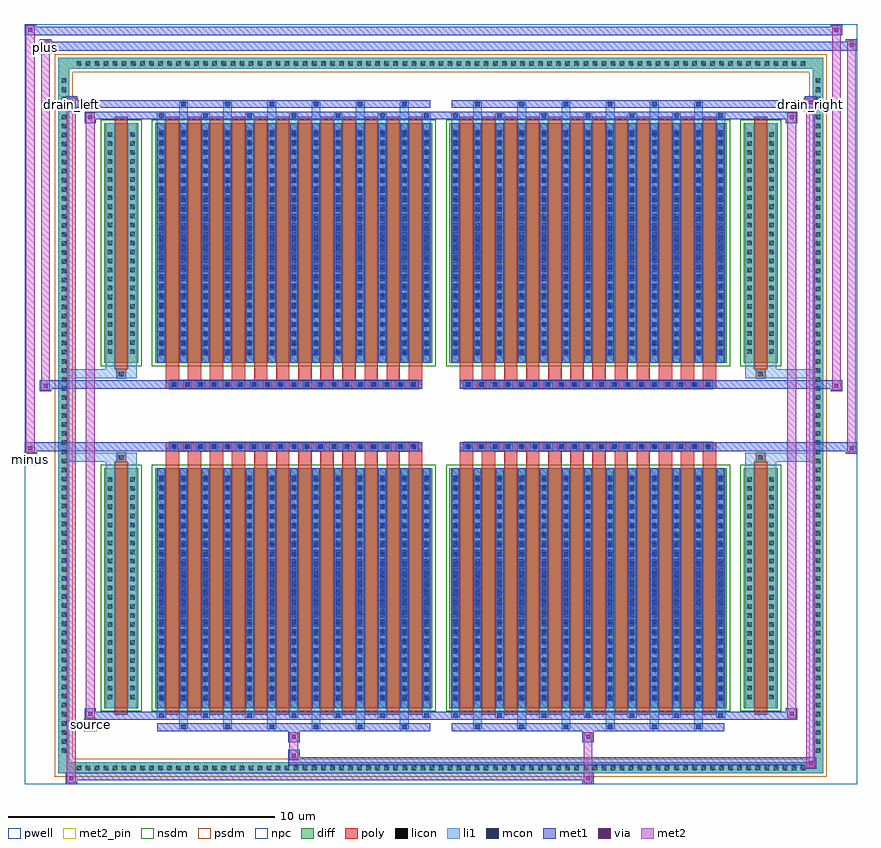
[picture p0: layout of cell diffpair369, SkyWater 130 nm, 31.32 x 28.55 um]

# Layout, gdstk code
import gdstk
lib = gdstk.Library(unit=1e-6, precision=5e-09)
def R(c, l, rs):  # rectangles x0, y0, x1, y1
    for r in rs: c.add(gdstk.rectangle(r[:2], r[2:], *l))
def A(c, l, x, y, w, h, nx, ny, dx, dy):  # array of equal rectangles
    R(c, l, [(x+i*dx, y+j*dy, x+i*dx+w, y+j*dy+h) for i in range(nx) for j in range(ny)])
def P(c, l, *ps):  # polygons
    for p in ps: c.add(gdstk.Polygon(p, *l))
pwell = (64, 44)
diff = (65, 20)
poly = (66, 20)
licon = (66, 44)
li1 = (67, 20)
mcon = (67, 44)
met1 = (68, 20)
via = (68, 44)
met2_pin = (69, 16)
met2 = (69, 20)
nsdm = (93, 44)
psdm = (94, 20)
npc = (95, 20)

diffpair369 = lib.new_cell('diffpair369')
R(diffpair369, pwell, [(-15.64,-13.84,15.64,14.71), (-12.96,-12.03,-0.01,-0.805), (0.01,-12.03,12.96,-0.805), (-12.96,0.805,-0.01,12.03), (0.01,0.805,12.96,12.03)])
A(diffpair369, diff, -13.805, -13.44, 0.41, 0.41, 81, 2, 0.34, 26.47)
A(diffpair369, diff, -14.37, -12.785, 0.41, 0.41, 1, 75, 0, 0.34)
A(diffpair369, diff, 13.96, -12.785, 0.41, 0.41, 1, 75, 0, 0.34)
R(diffpair369, diff, [(-13.805,-13.44,13.805,-13.03), (-14.37,-12.785,-13.96,12.785), (13.96,-12.785,14.37,12.785), (-12.65,-10.985,-11.37,-1.985), (-10.73,-10.985,-0.32,-1.985), (0.32,-10.985,10.73,-1.985), (11.37,-10.985,12.65,-1.985), (-12.65,1.985,-11.37,10.985), (-10.73,1.985,-0.32,10.985), (0.32,1.985,10.73,10.985), (11.37,1.985,12.65,10.985), (-13.805,13.03,13.805,13.44)])
P(diffpair369, diff, [(14.37,13.44),(-14.37,13.44),(-14.37,-13.03),(-13.96,-13.03),(-13.96,13.03),(13.96,13.03),(13.96,-13.03),(-13.96,-13.03),(-14.37,-13.03),(-14.37,-13.44),(14.37,-13.44)])
A(diffpair369, poly, -10.34, -11.235, 0.5, 9.5, 12, 2, 0.83, 12.97)
A(diffpair369, poly, 0.71, -11.235, 0.5, 9.5, 12, 2, 0.83, 12.97)
A(diffpair369, poly, -10.34, -1.735, 0.5, 0.4, 12, 2, 0.83, 3.07)
A(diffpair369, poly, 0.71, -1.735, 0.5, 0.4, 12, 2, 0.83, 3.07)
A(diffpair369, poly, -10.19, -1.335, 0.33, 0.33, 19, 2, 0.5, 2.34)
A(diffpair369, poly, 0.86, -1.335, 0.33, 0.33, 19, 2, 0.5, 2.34)
R(diffpair369, poly, [(-12.26,-11.235,-11.76,-1.735), (11.76,-11.235,12.26,-1.735), (-12.175,-1.735,-11.845,-1.405), (-12.175,-1.735,-11.845,-1.405), (11.845,-1.735,12.175,-1.405), (11.845,-1.735,12.175,-1.405), (-10.34,-1.335,-0.71,-1.005), (0.71,-1.335,10.34,-1.005), (-10.34,1.005,-0.71,1.335), (0.71,1.005,10.34,1.335), (-12.175,1.405,-11.845,1.735), (-12.175,1.405,-11.845,1.735), (11.845,1.405,12.175,1.735), (11.845,1.405,12.175,1.735), (-12.26,1.735,-11.76,11.235), (11.76,1.735,12.26,11.235)])
A(diffpair369, licon, -13.685, -13.32, 0.17, 0.17, 81, 2, 0.34, 26.47)
A(diffpair369, licon, -14.25, -12.665, 0.17, 0.17, 1, 75, 0, 0.34)
A(diffpair369, licon, 14.08, -12.665, 0.17, 0.17, 1, 75, 0, 0.34)
A(diffpair369, licon, -12.51, -10.65, 0.17, 0.17, 1, 25, 0, 0.34)
A(diffpair369, licon, -11.68, -10.65, 0.17, 0.17, 1, 25, 0, 0.34)
A(diffpair369, licon, -10.59, -10.65, 0.17, 0.17, 13, 25, 0.83, 0.34)
A(diffpair369, licon, 0.46, -10.65, 0.17, 0.17, 13, 25, 0.83, 0.34)
A(diffpair369, licon, 11.51, -10.65, 0.17, 0.17, 1, 25, 0, 0.34)
A(diffpair369, licon, 12.34, -10.65, 0.17, 0.17, 1, 25, 0, 0.34)
A(diffpair369, licon, -10.11, -1.255, 0.17, 0.17, 19, 2, 0.5, 2.34)
A(diffpair369, licon, 0.94, -1.255, 0.17, 0.17, 19, 2, 0.5, 2.34)
A(diffpair369, licon, -12.51, 2.32, 0.17, 0.17, 1, 25, 0, 0.34)
A(diffpair369, licon, -11.68, 2.32, 0.17, 0.17, 1, 25, 0, 0.34)
A(diffpair369, licon, -10.59, 2.32, 0.17, 0.17, 13, 25, 0.83, 0.34)
A(diffpair369, licon, 0.46, 2.32, 0.17, 0.17, 13, 25, 0.83, 0.34)
A(diffpair369, licon, 11.51, 2.32, 0.17, 0.17, 1, 25, 0, 0.34)
A(diffpair369, licon, 12.34, 2.32, 0.17, 0.17, 1, 25, 0, 0.34)
R(diffpair369, licon, [(-12.095,-1.655,-11.925,-1.485), (11.925,-1.655,12.095,-1.485), (-12.095,1.485,-11.925,1.655), (11.925,1.485,12.095,1.655)])
A(diffpair369, li1, -13.765, -13.4, 0.33, 0.33, 81, 2, 0.34, 26.47)
A(diffpair369, li1, -14.33, -12.745, 0.33, 0.33, 1, 75, 0, 0.34)
A(diffpair369, li1, 14, -12.745, 0.33, 0.33, 1, 75, 0, 0.34)
A(diffpair369, li1, -9.84, -11.79, 0.33, 0.805, 6, 2, 1.66, 22.775)
A(diffpair369, li1, -9.76, -11.79, 0.17, 0.17, 6, 2, 1.66, 23.41)
A(diffpair369, li1, 1.21, -11.79, 0.33, 0.805, 6, 2, 1.66, 22.775)
A(diffpair369, li1, 1.29, -11.79, 0.17, 0.17, 6, 2, 1.66, 23.41)
A(diffpair369, li1, -10.67, -11.36, 0.33, 0.375, 7, 2, 1.66, 22.345)
A(diffpair369, li1, -10.59, -11.36, 0.17, 0.17, 7, 2, 1.66, 22.55)
A(diffpair369, li1, 0.38, -11.36, 0.33, 0.375, 7, 2, 1.66, 22.345)
A(diffpair369, li1, 0.46, -11.36, 0.17, 0.17, 7, 2, 1.66, 22.55)
A(diffpair369, li1, -10.67, -10.985, 0.33, 9, 13, 2, 0.83, 12.97)
A(diffpair369, li1, 0.38, -10.985, 0.33, 9, 13, 2, 0.83, 12.97)
A(diffpair369, li1, -12.59, -10.73, 0.33, 0.33, 1, 25, 0, 0.34)
A(diffpair369, li1, -11.76, -10.73, 0.33, 0.33, 1, 25, 0, 0.34)
A(diffpair369, li1, -10.67, -10.73, 0.33, 0.33, 13, 25, 0.83, 0.34)
A(diffpair369, li1, 0.38, -10.73, 0.33, 0.33, 13, 25, 0.83, 0.34)
A(diffpair369, li1, 11.43, -10.73, 0.33, 0.33, 1, 25, 0, 0.34)
A(diffpair369, li1, 12.26, -10.73, 0.33, 0.33, 1, 25, 0, 0.34)
A(diffpair369, li1, -10.59, -10.71, 0.17, 0.17, 13, 24, 0.83, 0.36)
A(diffpair369, li1, -10.59, -10.71, 0.17, 8.45, 13, 2, 0.83, 12.97)
A(diffpair369, li1, 0.46, -10.71, 0.17, 0.17, 13, 24, 0.83, 0.36)
A(diffpair369, li1, 0.46, -10.71, 0.17, 8.45, 13, 2, 0.83, 12.97)
A(diffpair369, li1, -10.19, -1.335, 0.33, 0.33, 19, 2, 0.5, 2.34)
A(diffpair369, li1, 0.86, -1.335, 0.33, 0.33, 19, 2, 0.5, 2.34)
A(diffpair369, li1, -12.59, 2.24, 0.33, 0.33, 1, 25, 0, 0.34)
A(diffpair369, li1, -11.76, 2.24, 0.33, 0.33, 1, 25, 0, 0.34)
A(diffpair369, li1, -10.67, 2.24, 0.33, 0.33, 13, 25, 0.83, 0.34)
A(diffpair369, li1, 0.38, 2.24, 0.33, 0.33, 13, 25, 0.83, 0.34)
A(diffpair369, li1, 11.43, 2.24, 0.33, 0.33, 1, 25, 0, 0.34)
A(diffpair369, li1, 12.26, 2.24, 0.33, 0.33, 1, 25, 0, 0.34)
A(diffpair369, li1, -10.59, 2.26, 0.17, 0.17, 13, 24, 0.83, 0.36)
A(diffpair369, li1, 0.46, 2.26, 0.17, 0.17, 13, 24, 0.83, 0.36)
R(diffpair369, li1, [(-14.37,-13.44,-13.96,-13.03), (-14.37,-13.44,-13.96,-13.03), (-13.96,-13.44,13.96,-13.03), (13.96,-13.44,14.37,-13.03), (13.96,-13.44,14.37,-13.03), (-14.37,-13.03,-13.96,13.03), (13.96,-13.03,14.37,13.03), (-12.59,-10.985,-12.26,-1.985), (-11.76,-10.985,-11.43,-1.985), (11.43,-10.985,11.76,-1.985), (12.26,-10.985,12.59,-1.985), (-12.59,-1.985,-12.26,-1.405), (-11.76,-1.985,-11.43,-1.405), (11.43,-1.985,11.76,-1.405), (12.26,-1.985,12.59,-1.405), (-14.37,-1.735,-12.175,-1.405), (-12.59,-1.735,-12.175,-1.405), (-12.175,-1.735,-11.845,-1.405), (-11.845,-1.735,-11.43,-1.405), (11.43,-1.735,11.845,-1.405), (11.845,-1.735,12.175,-1.405), (11.845,-1.735,14.37,-1.405), (12.175,-1.735,12.59,-1.405), (-14.37,1.405,-12.175,1.735), (-12.59,1.405,-12.175,1.735), (-12.59,1.405,-12.26,1.985), (-12.175,1.405,-11.845,1.735), (-11.845,1.405,-11.43,1.735), (-11.76,1.405,-11.43,1.985), (11.43,1.405,11.845,1.735), (11.43,1.405,11.76,1.985), (11.845,1.405,12.175,1.735), (11.845,1.405,14.37,1.735), (12.175,1.405,12.59,1.735), (12.26,1.405,12.59,1.985), (-12.59,1.985,-12.26,10.985), (-11.76,1.985,-11.43,10.985), (11.43,1.985,11.76,10.985), (12.26,1.985,12.59,10.985), (-14.37,13.03,-13.96,13.44), (-14.37,13.03,-13.96,13.44), (-13.96,13.03,13.96,13.44), (13.96,13.03,14.37,13.44), (13.96,13.03,14.37,13.44)])
A(diffpair369, mcon, -9.76, -11.79, 0.17, 0.17, 6, 2, 1.66, 23.41)
A(diffpair369, mcon, 1.29, -11.79, 0.17, 0.17, 6, 2, 1.66, 23.41)
A(diffpair369, mcon, -10.59, -11.36, 0.17, 0.17, 7, 2, 1.66, 22.55)
A(diffpair369, mcon, 0.46, -11.36, 0.17, 0.17, 7, 2, 1.66, 22.55)
A(diffpair369, mcon, -10.59, -10.71, 0.17, 0.17, 13, 24, 0.83, 0.36)
A(diffpair369, mcon, 0.46, -10.71, 0.17, 0.17, 13, 24, 0.83, 0.36)
A(diffpair369, mcon, -10.11, -1.255, 0.17, 0.17, 19, 2, 0.5, 2.34)
A(diffpair369, mcon, 0.94, -1.255, 0.17, 0.17, 19, 2, 0.5, 2.34)
A(diffpair369, mcon, -10.59, 2.26, 0.17, 0.17, 13, 24, 0.83, 0.36)
A(diffpair369, mcon, 0.46, 2.26, 0.17, 0.17, 13, 24, 0.83, 0.36)
A(diffpair369, met1, -9.82, -11.85, 0.29, 0.29, 6, 2, 1.66, 23.41)
A(diffpair369, met1, 1.23, -11.85, 0.29, 0.29, 6, 2, 1.66, 23.41)
A(diffpair369, met1, -10.65, -11.42, 0.29, 0.29, 7, 2, 1.66, 22.55)
A(diffpair369, met1, 0.4, -11.42, 0.29, 0.29, 7, 2, 1.66, 22.55)
A(diffpair369, met1, -10.65, -10.985, 0.29, 9, 13, 2, 0.83, 12.97)
A(diffpair369, met1, 0.4, -10.985, 0.29, 9, 13, 2, 0.83, 12.97)
A(diffpair369, met1, -10.65, -10.77, 0.29, 0.29, 13, 24, 0.83, 0.36)
A(diffpair369, met1, 0.4, -10.77, 0.29, 0.29, 13, 24, 0.83, 0.36)
A(diffpair369, met1, -10.17, -1.315, 0.29, 0.29, 19, 2, 0.5, 2.34)
A(diffpair369, met1, 0.88, -1.315, 0.29, 0.29, 19, 2, 0.5, 2.34)
A(diffpair369, met1, -10.65, 2.2, 0.29, 0.29, 13, 24, 0.83, 0.36)
A(diffpair369, met1, 0.4, 2.2, 0.29, 0.29, 13, 24, 0.83, 0.36)
R(diffpair369, met1, [(-14.1,-13.84,-13.67,-13.41), (5.31,-13.84,5.74,-13.41), (-14.1,-13.7,5.74,-13.41), (13.67,-13.27,14.1,-12.84), (-5.74,-13.13,14.1,-12.84), (-5.74,-12.99,-5.31,-12.56), (-5.74,-12.28,-5.31,-11.85), (5.31,-12.28,5.74,-11.85), (-10.65,-11.85,-0.4,-11.56), (0.4,-11.85,10.65,-11.56), (-13.39,-11.42,-12.96,-10.99), (-13.39,-11.42,-10.65,-11.13), (-10.65,-11.42,-0.4,-11.13), (-0.4,-11.42,0.4,-11.13), (0.4,-11.42,10.65,-11.13), (10.65,-11.42,13.39,-11.13), (12.96,-11.42,13.39,-10.99), (-15.64,-1.435,-15.21,-1.005), (15.21,-1.435,15.64,-1.005), (-15.64,-1.335,-0.71,-1.005), (-10.34,-1.335,-0.71,-1.005), (0.71,-1.335,10.34,-1.005), (0.71,-1.335,15.64,-1.005), (-15.07,0.905,-14.64,1.335), (14.64,0.905,15.07,1.335), (-15.07,1.005,-10.34,1.335), (-10.34,1.005,-0.71,1.335), (0.71,1.005,10.34,1.335), (10.34,1.005,15.07,1.335), (-13.39,10.99,-12.96,11.42), (12.96,10.99,13.39,11.42), (-13.39,11.13,-10.65,11.42), (-10.65,11.13,-0.4,11.42), (-0.4,11.13,0.4,11.42), (0.4,11.13,10.65,11.42), (10.65,11.13,13.39,11.42), (-14.1,11.56,-13.67,11.99), (-14.1,11.56,-10.65,11.85), (-10.65,11.56,-0.4,11.85), (0.4,11.56,10.65,11.85), (10.65,11.56,14.1,11.85), (13.67,11.56,14.1,11.99), (-15.07,13.71,-14.64,14.14), (-15.07,13.71,-12.96,14.04), (-12.96,13.71,12.96,14.04), (12.96,13.71,15.64,14.04), (15.21,13.71,15.64,14.14), (-15.64,14.28,-15.21,14.71), (-15.64,14.28,-12.96,14.61), (-12.96,14.28,12.96,14.61), (12.96,14.28,15.07,14.61), (14.64,14.28,15.07,14.71)])
R(diffpair369, via, [(-13.96,-13.7,-13.81,-13.55), (5.45,-13.7,5.6,-13.55), (13.81,-13.13,13.96,-12.98), (-5.6,-12.85,-5.45,-12.7), (-5.6,-12.14,-5.45,-11.99), (5.45,-12.14,5.6,-11.99), (-13.25,-11.28,-13.1,-11.13), (13.1,-11.28,13.25,-11.13), (-15.5,-1.295,-15.35,-1.145), (15.35,-1.295,15.5,-1.145), (-14.93,1.045,-14.78,1.195), (14.78,1.045,14.93,1.195), (-13.25,11.13,-13.1,11.28), (13.1,11.13,13.25,11.28), (-13.96,11.7,-13.81,11.85), (13.81,11.7,13.96,11.85), (-14.93,13.85,-14.78,14), (15.35,13.85,15.5,14), (-15.5,14.42,-15.35,14.57), (14.78,14.42,14.93,14.57)])
R(diffpair369, met2_pin, [(-13.425,-11.87,-12.925,-11.37), (-15.675,-1.885,-15.175,-1.385), (-14.135,11.44,-13.635,11.94), (13.635,11.44,14.135,11.94), (-15.105,13.59,-14.605,14.09)])
R(diffpair369, met2, [(-14.05,-13.79,-13.72,-13.46), (-14.05,-13.79,-13.72,11.94), (5.36,-13.79,5.69,-13.46), (5.36,-13.46,5.69,-12.23), (13.72,-13.22,14.05,-12.89), (13.72,-13.22,14.05,11.94), (-5.69,-12.94,-5.36,-12.61), (-5.69,-12.61,-5.36,-12.23), (-5.69,-12.23,-5.36,-11.9), (5.36,-12.23,5.69,-11.9), (-13.34,-11.37,-13.01,-11.04), (-13.34,-11.37,-13.01,11.37), (13.01,-11.37,13.34,-11.04), (13.01,-11.37,13.34,11.37), (-15.59,-1.385,-15.26,-1.055), (-15.59,-1.385,-15.26,14.66), (15.26,-1.385,15.59,-1.055), (15.26,-1.385,15.59,14.09), (-15.02,0.955,-14.69,1.285), (-15.02,0.955,-14.69,14.09), (14.69,0.955,15.02,1.285), (14.69,0.955,15.02,14.66), (-13.34,11.04,-13.01,11.37), (13.01,11.04,13.34,11.37), (-14.05,11.61,-13.72,11.94), (13.72,11.61,14.05,11.94), (-15.02,13.76,-14.69,14.09), (15.26,13.76,15.59,14.09), (-15.59,14.33,-15.26,14.66), (14.69,14.33,15.02,14.66)])
P(diffpair369, met2, [(15.59,-1.385),(15.59,-1.385),(15.59,-1.055),(15.59,-1.055)],
  [(15.59,13.76),(15.59,13.76),(15.59,14.09),(15.59,14.09)],
  [(-15.26,-1.385),(-15.26,-1.385),(-15.26,-1.055),(-15.26,-1.055)],
  [(-15.26,14.33),(-15.26,14.33),(-15.26,14.66),(-15.26,14.66)],
  [(15.02,0.955),(15.02,0.955),(15.02,1.285),(15.02,1.285)],
  [(15.02,14.33),(15.02,14.33),(15.02,14.66),(15.02,14.66)],
  [(-14.69,0.955),(-14.69,0.955),(-14.69,1.285),(-14.69,1.285)],
  [(-14.69,13.76),(-14.69,13.76),(-14.69,14.09),(-14.69,14.09)],
  [(-13.72,-13.79),(-13.72,-13.79),(-13.72,-13.46),(-13.72,-13.46)],
  [(-13.72,11.61),(-13.72,11.61),(-13.72,11.94),(-13.72,11.94)],
  [(14.05,-13.22),(14.05,-13.22),(14.05,-12.89),(14.05,-12.89)],
  [(14.05,11.61),(14.05,11.61),(14.05,11.94),(14.05,11.94)],
  [(-13.01,-11.37),(-13.01,-11.37),(-13.01,-11.04),(-13.01,-11.04)],
  [(-13.01,11.04),(-13.01,11.04),(-13.01,11.37),(-13.01,11.37)],
  [(13.34,-11.37),(13.34,-11.37),(13.34,-11.04),(13.34,-11.04)],
  [(13.34,11.04),(13.34,11.04),(13.34,11.37),(13.34,11.37)])
R(diffpair369, nsdm, [(-12.78,-11.115,-11.24,-1.855), (-10.86,-11.115,-0.19,-1.855), (0.19,-11.115,10.86,-1.855), (11.24,-11.115,12.78,-1.855), (-12.78,1.855,-11.24,11.115), (-10.86,1.855,-0.19,11.115), (0.19,1.855,10.86,11.115), (11.24,1.855,12.78,11.115)])
P(diffpair369, psdm, [(14.5,13.57),(-14.5,13.57),(-14.5,-12.9),(-13.83,-12.9),(-13.83,12.9),(13.83,12.9),(13.83,-12.9),(-13.83,-12.9),(-14.5,-12.9),(-14.5,-13.57),(14.5,-13.57)])
A(diffpair369, npc, -10.21, -1.355, 0.37, 0.37, 19, 2, 0.5, 2.34)
A(diffpair369, npc, 0.84, -1.355, 0.37, 0.37, 19, 2, 0.5, 2.34)
R(diffpair369, npc, [(-12.195,-1.755,-11.825,-1.385), (11.825,-1.755,12.195,-1.385), (-10.21,-1.355,-9.34,-0.985), (-10.21,-1.355,-9.34,-0.985), (-9.71,-1.355,-8.84,-0.985), (-9.71,-1.355,-8.84,-0.985), (-9.21,-1.355,-8.34,-0.985), (-9.21,-1.355,-8.34,-0.985), (-8.71,-1.355,-7.84,-0.985), (-8.71,-1.355,-7.84,-0.985), (-8.21,-1.355,-7.34,-0.985), (-8.21,-1.355,-7.34,-0.985), (-7.71,-1.355,-6.84,-0.985), (-7.71,-1.355,-6.84,-0.985), (-7.21,-1.355,-6.34,-0.985), (-7.21,-1.355,-6.34,-0.985), (-6.71,-1.355,-5.84,-0.985), (-6.71,-1.355,-5.84,-0.985), (-6.21,-1.355,-5.34,-0.985), (-6.21,-1.355,-5.34,-0.985), (-5.71,-1.355,-4.84,-0.985), (-5.71,-1.355,-4.84,-0.985), (-5.21,-1.355,-4.34,-0.985), (-5.21,-1.355,-4.34,-0.985), (-4.71,-1.355,-3.84,-0.985), (-4.71,-1.355,-3.84,-0.985), (-4.21,-1.355,-3.34,-0.985), (-4.21,-1.355,-3.34,-0.985), (-3.71,-1.355,-2.84,-0.985), (-3.71,-1.355,-2.84,-0.985), (-3.21,-1.355,-2.34,-0.985), (-3.21,-1.355,-2.34,-0.985), (-2.71,-1.355,-1.84,-0.985), (-2.71,-1.355,-1.84,-0.985), (-2.21,-1.355,-1.34,-0.985), (-2.21,-1.355,-1.34,-0.985), (-1.71,-1.355,-0.84,-0.985), (-1.71,-1.355,-0.84,-0.985), (0.84,-1.355,1.71,-0.985), (0.84,-1.355,1.71,-0.985), (1.34,-1.355,2.21,-0.985), (1.34,-1.355,2.21,-0.985), (1.84,-1.355,2.71,-0.985), (1.84,-1.355,2.71,-0.985), (2.34,-1.355,3.21,-0.985), (2.34,-1.355,3.21,-0.985), (2.84,-1.355,3.71,-0.985), (2.84,-1.355,3.71,-0.985), (3.34,-1.355,4.21,-0.985), (3.34,-1.355,4.21,-0.985), (3.84,-1.355,4.71,-0.985), (3.84,-1.355,4.71,-0.985), (4.34,-1.355,5.21,-0.985), (4.34,-1.355,5.21,-0.985), (4.84,-1.355,5.71,-0.985), (4.84,-1.355,5.71,-0.985), (5.34,-1.355,6.21,-0.985), (5.34,-1.355,6.21,-0.985), (5.84,-1.355,6.71,-0.985), (5.84,-1.355,6.71,-0.985), (6.34,-1.355,7.21,-0.985), (6.34,-1.355,7.21,-0.985), (6.84,-1.355,7.71,-0.985), (6.84,-1.355,7.71,-0.985), (7.34,-1.355,8.21,-0.985), (7.34,-1.355,8.21,-0.985), (7.84,-1.355,8.71,-0.985), (7.84,-1.355,8.71,-0.985), (8.34,-1.355,9.21,-0.985), (8.34,-1.355,9.21,-0.985), (8.84,-1.355,9.71,-0.985), (8.84,-1.355,9.71,-0.985), (9.34,-1.355,10.21,-0.985), (9.34,-1.355,10.21,-0.985), (-10.21,0.985,-9.34,1.355), (-10.21,0.985,-9.34,1.355), (-9.71,0.985,-8.84,1.355), (-9.71,0.985,-8.84,1.355), (-9.21,0.985,-8.34,1.355), (-9.21,0.985,-8.34,1.355), (-8.71,0.985,-7.84,1.355), (-8.71,0.985,-7.84,1.355), (-8.21,0.985,-7.34,1.355), (-8.21,0.985,-7.34,1.355), (-7.71,0.985,-6.84,1.355), (-7.71,0.985,-6.84,1.355), (-7.21,0.985,-6.34,1.355), (-7.21,0.985,-6.34,1.355), (-6.71,0.985,-5.84,1.355), (-6.71,0.985,-5.84,1.355), (-6.21,0.985,-5.34,1.355), (-6.21,0.985,-5.34,1.355), (-5.71,0.985,-4.84,1.355), (-5.71,0.985,-4.84,1.355), (-5.21,0.985,-4.34,1.355), (-5.21,0.985,-4.34,1.355), (-4.71,0.985,-3.84,1.355), (-4.71,0.985,-3.84,1.355), (-4.21,0.985,-3.34,1.355), (-4.21,0.985,-3.34,1.355), (-3.71,0.985,-2.84,1.355), (-3.71,0.985,-2.84,1.355), (-3.21,0.985,-2.34,1.355), (-3.21,0.985,-2.34,1.355), (-2.71,0.985,-1.84,1.355), (-2.71,0.985,-1.84,1.355), (-2.21,0.985,-1.34,1.355), (-2.21,0.985,-1.34,1.355), (-1.71,0.985,-0.84,1.355), (-1.71,0.985,-0.84,1.355), (0.84,0.985,1.71,1.355), (0.84,0.985,1.71,1.355), (1.34,0.985,2.21,1.355), (1.34,0.985,2.21,1.355), (1.84,0.985,2.71,1.355), (1.84,0.985,2.71,1.355), (2.34,0.985,3.21,1.355), (2.34,0.985,3.21,1.355), (2.84,0.985,3.71,1.355), (2.84,0.985,3.71,1.355), (3.34,0.985,4.21,1.355), (3.34,0.985,4.21,1.355), (3.84,0.985,4.71,1.355), (3.84,0.985,4.71,1.355), (4.34,0.985,5.21,1.355), (4.34,0.985,5.21,1.355), (4.84,0.985,5.71,1.355), (4.84,0.985,5.71,1.355), (5.34,0.985,6.21,1.355), (5.34,0.985,6.21,1.355), (5.84,0.985,6.71,1.355), (5.84,0.985,6.71,1.355), (6.34,0.985,7.21,1.355), (6.34,0.985,7.21,1.355), (6.84,0.985,7.71,1.355), (6.84,0.985,7.71,1.355), (7.34,0.985,8.21,1.355), (7.34,0.985,8.21,1.355), (7.84,0.985,8.71,1.355), (7.84,0.985,8.71,1.355), (8.34,0.985,9.21,1.355), (8.34,0.985,9.21,1.355), (8.84,0.985,9.71,1.355), (8.84,0.985,9.71,1.355), (9.34,0.985,10.21,1.355), (9.34,0.985,10.21,1.355), (-12.195,1.385,-11.825,1.755), (11.825,1.385,12.195,1.755)])
diffpair369.add(gdstk.Label('minus', (-15.425,-1.635), layer=69, texttype=5))
diffpair369.add(gdstk.Label('drain_right', (13.885,11.69), layer=69, texttype=5))
diffpair369.add(gdstk.Label('drain_left', (-13.885,11.69), layer=69, texttype=5))
diffpair369.add(gdstk.Label('source', (-13.175,-11.62), layer=69, texttype=5))
diffpair369.add(gdstk.Label('plus', (-14.855,13.84), layer=69, texttype=5))

lib.write_gds('diffpair369.gds')
